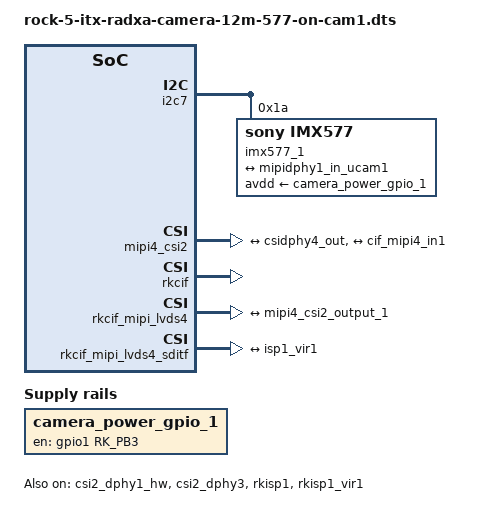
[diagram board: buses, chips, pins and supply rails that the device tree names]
/dts-v1/;
/plugin/;

#include <dt-bindings/power/rk3588-power.h>
#include <dt-bindings/gpio/gpio.h>
#include <dt-bindings/pinctrl/rockchip.h>

/ {
	metadata {
		title = "Enable Radxa Camera 12M 577 on CAM1";
		compatible = "radxa,rock-5-itx";
		category = "camera";
		exclusive = "GPIO1_B3", "csi2_dphy3", "i2c7";
		description = "Enable Radxa Camera 12M 577 on CAM1.";
	};
};

&{/} {
	camera_power_gpio_1: camera-power-gpio-1 {
		compatible = "regulator-fixed";
		regulator-name = "camera_power_gpio_1";
		startup-delay-us = <250000>;
		off-on-delay-us = <20000>;
		enable-active-high;
		gpio = <&gpio1 RK_PB3 GPIO_ACTIVE_HIGH>;
		pinctrl-names = "default";
		pinctrl-0 = <&cam_power_gpio_1>;
	};
};

&i2c7 {
	status = "okay";
	#address-cells = <1>;
	#size-cells = <0>;

	imx577_1: imx577@1a {
		status = "okay";
		compatible = "sony,imx577";
		reg = <0x1a>;
		power-domains = <&power RK3588_PD_VI>;
		avdd-supply = <&camera_power_gpio_1>;
		rockchip,camera-module-index = <1>;
		rockchip,camera-module-facing = "front";
		rockchip,camera-module-name = "RADXA-CAMERA-12M";
		rockchip,camera-module-lens-name = "default";
		port {
			imx577_out1: endpoint {
				remote-endpoint = <&mipidphy1_in_ucam1>;
				data-lanes = <1 2 3 4>;
			};
		};
	};
};

&csi2_dphy1_hw {
	status = "okay";
};

&csi2_dphy3 {
	status = "okay";

	ports {
		#address-cells = <1>;
		#size-cells = <0>;

		port@0 {
			reg = <0>;
			#address-cells = <1>;
			#size-cells = <0>;

			mipidphy1_in_ucam1: endpoint@1 {
				reg = <1>;
				remote-endpoint = <&imx577_out1>;
				data-lanes = <1 2 3 4>;
			};
		};

		port@1 {
			reg = <1>;
			#address-cells = <1>;
			#size-cells = <0>;

			csidphy4_out: endpoint@0 {
				reg = <0>;
				remote-endpoint = <&mipi4_csi2_input_1>;
			};
		};
	};
};

&mipi4_csi2 {
	status = "okay";

	ports {
		#address-cells = <1>;
		#size-cells = <0>;

		port@0 {
			reg = <0>;
			#address-cells = <1>;
			#size-cells = <0>;

			mipi4_csi2_input_1: endpoint@1 {
				reg = <1>;
				remote-endpoint = <&csidphy4_out>;
			};
		};

		port@1 {
			reg = <1>;
			#address-cells = <1>;
			#size-cells = <0>;

			mipi4_csi2_output_1: endpoint@0 {
				reg = <0>;
				remote-endpoint = <&cif_mipi4_in1>;
			};
		};
	};
};

&rkcif {
	status = "okay";
};

&rkcif_mipi_lvds4 {
	status = "okay";

	port {
		cif_mipi4_in1: endpoint {
			remote-endpoint = <&mipi4_csi2_output_1>;
		};
	};
};

&rkcif_mipi_lvds4_sditf {
	status = "okay";

	port {
		mipi4_lvds2_sditf_1: endpoint {
			remote-endpoint = <&isp1_vir1>;
		};
	};
};

&rkcif_mmu {
	status = "okay";
};

&isp1_mmu {
	status = "okay";
};

&rkisp1 {
	status = "okay";
};

&rkisp1_vir1 {
	status = "okay";

	port {
		#address-cells = <1>;
		#size-cells = <0>;

		isp1_vir1: endpoint@0 {
			reg = <0>;
			remote-endpoint = <&mipi4_lvds2_sditf_1>;
		};
	};
};

&pinctrl {
	camera {
		cam_power_gpio_1: cam-power-gpio-1 {
			rockchip,pins = <1 RK_PB3 RK_FUNC_GPIO &pcfg_pull_up>;
		};
	};
};
